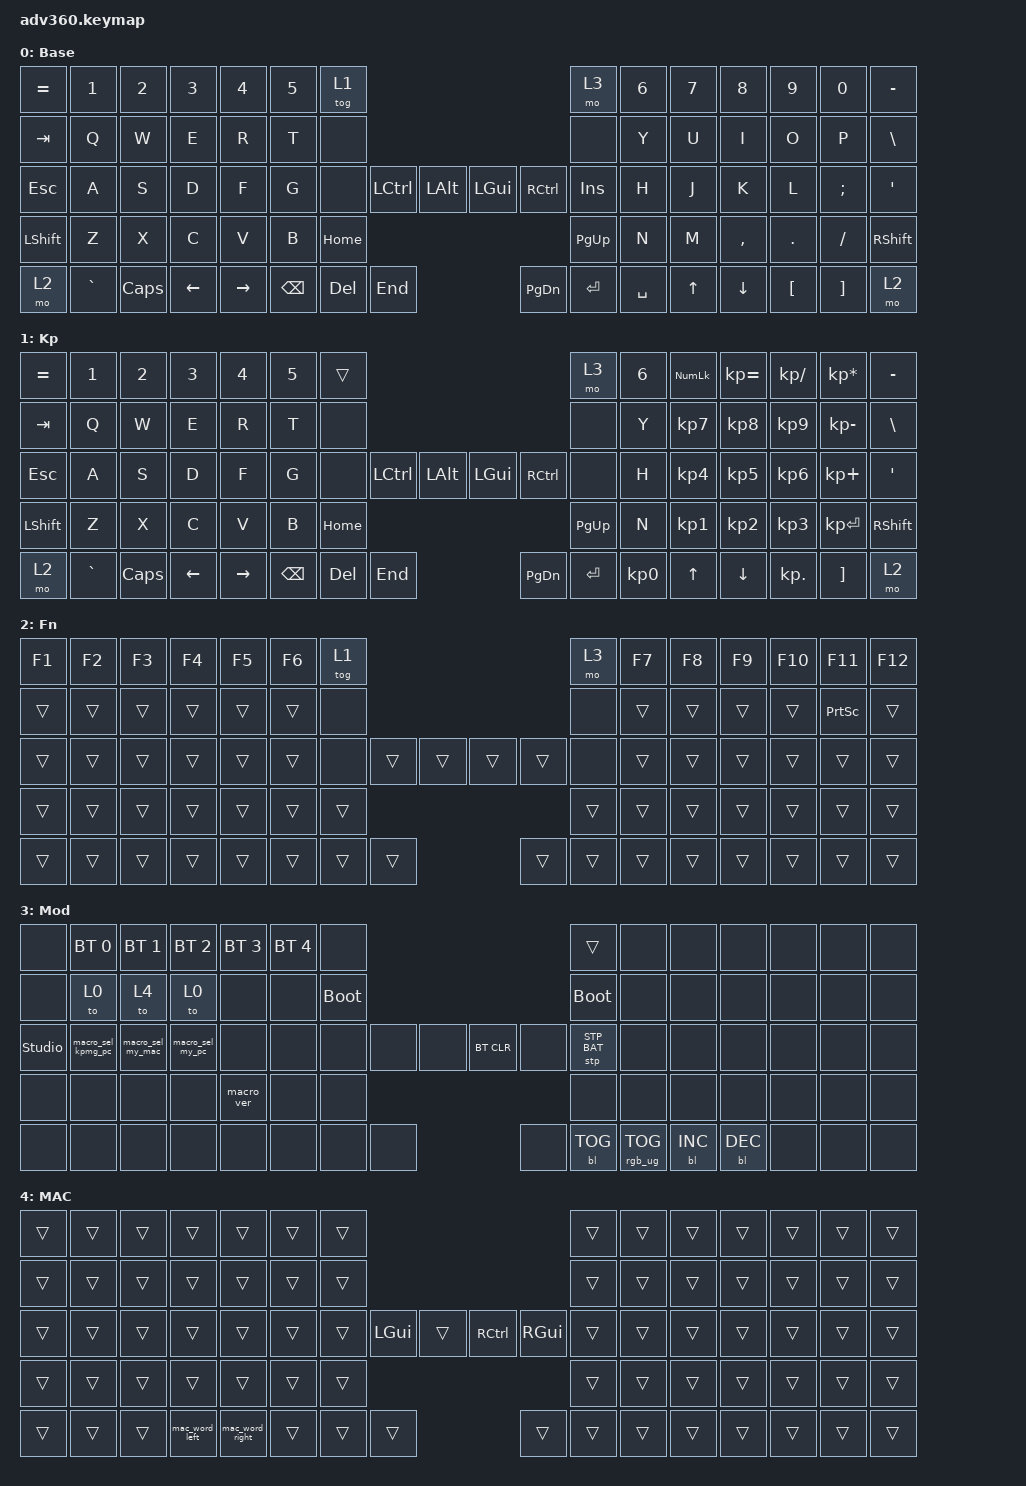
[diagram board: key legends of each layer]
#include <behaviors.dtsi>
#include <dt-bindings/zmk/keys.h>
#include <dt-bindings/zmk/bt.h>
#include <dt-bindings/zmk/rgb.h>
#include <dt-bindings/zmk/stp.h>
#include <dt-bindings/zmk/backlight.h>
#include <dt-bindings/zmk/pointing.h>

/ {
    behaviors {
      #include "macros.dtsi"
      #include "version.dtsi"

      hm: homerow_mods {
          compatible = "zmk,behavior-hold-tap";
          label = "HOMEROW_MODS";
          #binding-cells = <2>;
          tapping-term-ms = <200>;
          quick_tap_ms = <175>;
          flavor = "tap-preferred";
          bindings = <&kp>, <&kp>;
      };

      mac_word_left: mac_word_left {
          compatible = "zmk,behavior-mod-morph";
          label = "MAC_WORD_LEFT";
          #binding-cells = <0>;
          bindings = <&kp LEFT>, <&kp LA(LEFT)>;
          mods = <(MOD_LGUI)>;
      };

      mac_word_right: mac_word_right {
          compatible = "zmk,behavior-mod-morph";
          label = "MAC_WORD_RIGHT";
          #binding-cells = <0>;
          bindings = <&kp RIGHT>, <&kp LA(RIGHT)>;
          mods = <(MOD_LGUI)>;
      };
    };

  keymap {
    compatible = "zmk,keymap";

    default_layer {
      display-name = "Base";
      bindings = <
        &kp EQUAL &kp N1    &kp N2   &kp N3   &kp N4     &kp N5 &tog 1                                                           &mo 3 &kp N6 &kp N7 &kp N8    &kp N9   &kp N0   &kp MINUS
        &kp TAB   &kp Q     &kp W    &kp E    &kp R      &kp T  &none                                                            &none &kp Y  &kp U  &kp I     &kp O    &kp P    &kp BSLH
        &kp ESC   &kp A     &kp S    &kp D    &kp F      &kp G  &none           &kp LCTRL &kp LALT &kp LGUI  &kp RCTRL           &kp INS &kp H  &kp J  &kp K     &kp L    &kp SEMI &kp SQT
        &kp LSHFT &kp Z     &kp X    &kp C    &kp V      &kp B                            &kp HOME &kp PG_UP                           &kp N  &kp M  &kp COMMA &kp DOT  &kp FSLH &kp RSHFT
        &mo 2     &kp GRAVE &kp CAPS &kp LEFT &kp RIGHT                &kp BSPC &kp DEL   &kp END  &kp PG_DN &kp ENTER &kp SPACE              &kp UP &kp DOWN  &kp LBKT &kp RBKT &mo 2
      >;
    };
    keypad {
      display-name = "Kp";
      bindings = <
        &kp EQUAL &kp N1    &kp N2   &kp N3   &kp N4     &kp N5 &trans                                                           &mo 3 &kp N6 &kp KP_NUM &kp KP_EQUAL &kp KP_DIVIDE &kp KP_MULTIPLY &kp MINUS
        &kp TAB   &kp Q     &kp W    &kp E    &kp R      &kp T  &none                                                            &none &kp Y  &kp KP_N7  &kp KP_N8    &kp KP_N9     &kp KP_MINUS    &kp BSLH
        &kp ESC   &kp A     &kp S    &kp D    &kp F      &kp G  &none           &kp LCTRL &kp LALT &kp LGUI  &kp RCTRL           &none &kp H  &kp KP_N4  &kp KP_N5    &kp KP_N6     &kp KP_PLUS     &kp SQT
        &kp LSHFT &kp Z     &kp X    &kp C    &kp V      &kp B                            &kp HOME &kp PG_UP                           &kp N  &kp KP_N1  &kp KP_N2    &kp KP_N3     &kp KP_ENTER    &kp RSHFT
        &mo 2     &kp GRAVE &kp CAPS &kp LEFT &kp RIGHT                &kp BSPC &kp DEL   &kp END  &kp PG_DN &kp ENTER &kp KP_N0              &kp UP     &kp DOWN     &kp KP_DOT    &kp RBKT        &mo 2
      >;
    };
    fn {
      display-name = "Fn";
      bindings = <
        &kp F1 &kp F2 &kp F3 &kp F4 &kp F5 &kp F6 &tog 1                                           &mo 3 &kp F7 &kp F8 &kp F9 &kp F10 &kp F11 &kp F12
        &trans &trans &trans &trans &trans &trans  &none                                           &none &trans &trans &trans &trans  &kp PSCRN  &trans
        &trans &trans &trans &trans &trans &trans  &none        &trans &trans &trans &trans        &none &trans &trans &trans &trans  &trans  &trans
        &trans &trans &trans &trans &trans &trans                      &trans &trans                     &trans &trans &trans &trans  &trans  &trans
        &trans &trans &trans &trans &trans               &trans &trans &trans &trans &trans &trans              &trans &trans &trans  &trans  &trans
      >;
    };
    /*
     * mod layer — V3 base + your three V2 customizations grafted on:
     *   - Q / W / E      -> &to 0 / &to 4 / &to 0   (W jumps to MAC layer)
     *   - A / S / D      -> the three profile-select macros
     * V3 features kept in place: &studio_unlock (on ESC position),
     * &macro_ver, &stp STP_BAT, &bt BT_CLR, &bl, &rgb_ug, etc.
     */
    mod {
      display-name = "Mod";
      bindings = <
        &none          &bt BT_SEL 0        &bt BT_SEL 1       &bt BT_SEL 2      &bt BT_SEL 3 &bt BT_SEL 4 &none                                                                     &trans                 &none        &none        &none        &none &none &none
        &none          &to 0               &to 4              &to 0             &none        &none        &bootloader                                                               &bootloader            &none        &none        &none        &none &none &none
        &studio_unlock &macro_sel_kpmg_pc  &macro_sel_my_mac  &macro_sel_my_pc  &none        &none        &none                   &none &none &bt BT_CLR &none                      &stp STP_BAT &none        &none        &none        &none &none &none
        &none          &none               &none              &none             &macro_ver   &none                                      &none &none                                                        &none        &none        &none        &none &none &none
        &none          &none               &none              &none             &none                                       &none &none &none &none      &bl BL_TOG &rgb_ug RGB_TOG                                     &bl BL_INC   &bl BL_DEC   &none &none &none
      >;
    };
    /*
     * MAC layer (formerly layer 4 in your V2 fork).
     * Re-mapped thumb cluster for macOS:
     *   LCTRL -> LGUI,  LGUI -> RCTRL,  RCTRL -> RGUI
     * All other keys pass through (&trans).
     * macro_sel_my_mac jumps here via &to 4.
     */
    extra1 {
      display-name = "MAC";
      bindings = <
        &trans &trans &trans &trans &trans &trans &trans                                                         &trans &trans &trans &trans &trans &trans &trans
        &trans &trans &trans &trans &trans &trans &trans                                                         &trans &trans &trans &trans &trans &trans &trans
        &trans &trans &trans &trans &trans &trans &trans   &kp LGUI &trans   &kp RCTRL &kp RGUI                  &trans &trans &trans &trans &trans &trans &trans
        &trans &trans &trans &trans &trans &trans                   &trans &trans                                       &trans &trans &trans &trans &trans &trans
        &trans &trans &trans &mac_word_left &mac_word_right                 &trans   &trans &trans &trans   &trans   &trans              &trans &trans &trans &trans &trans
      >;
    };

    extra2 {
      display-name = "Purple";
      status = "reserved";
    };

    extra3 {
      display-name = "Cyan";
      status = "reserved";
    };

    extra4 {
      display-name = "Yellow";
      status = "reserved";
    };
  };
};
